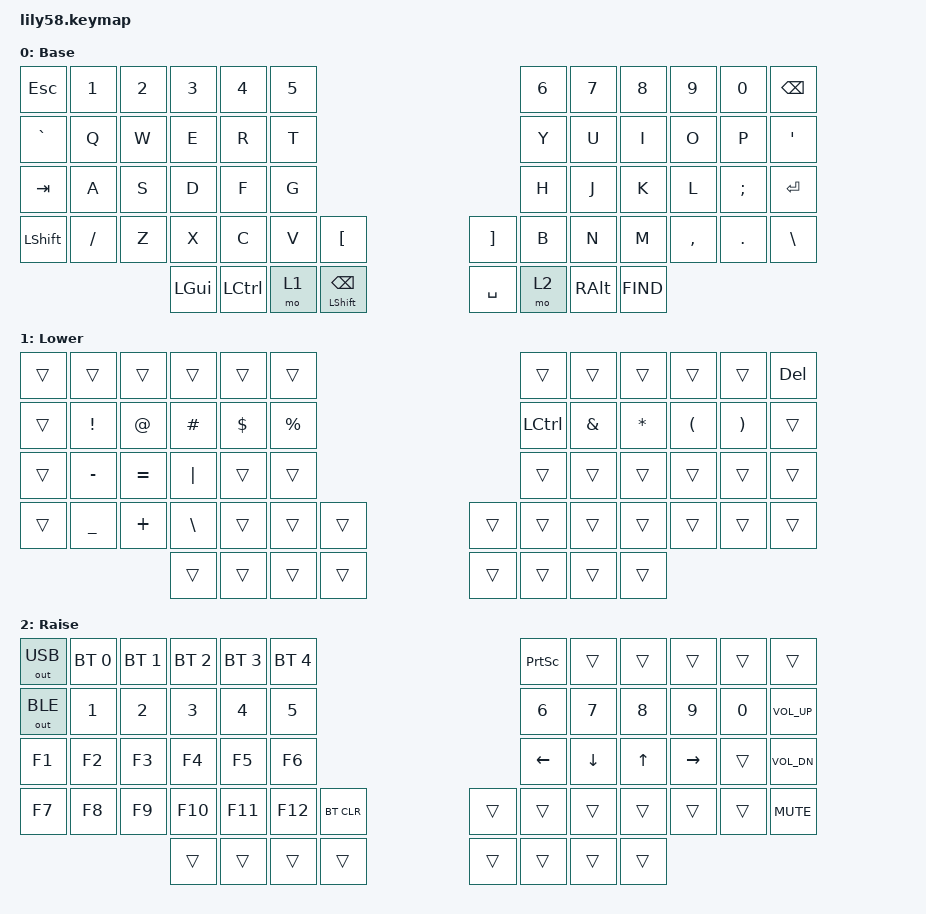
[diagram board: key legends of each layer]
/*
 * Copyright (c) 2020 The ZMK Contributors
 *
 * SPDX-License-Identifier: MIT
 */

#include <behaviors.dtsi>
#include <dt-bindings/zmk/bt.h>
#include <dt-bindings/zmk/keys.h>
#include <dt-bindings/zmk/outputs.h>

/ {
    keymap {
        compatible = "zmk,keymap";

        default_layer {
            // ------------------------------------------------------------------------------------------------------------
            // |  ESC  |  1  |  2  |  3   |  4   |  5   |                   |  6   |  7    |  8    |  9   |   0   |   `   |
            // |  TAB  |  Q  |  W  |  E   |  R   |  T   |                   |  Y   |  U    |  I    |  O   |   P   |   -   |
            // |  CTRL |  A  |  S  |  D   |  F   |  G   |                   |  H   |  J    |  K    |  L   |   ;   |   '   |
            // | SHIFT |  Z  |  X  |  C   |  V   |  B   |   "["  |  |  "]"  |  N   |  M    |  ,    |  .   |   /   | SHIFT |
            //                     | ALT  | GUI  | LOWER|  SPACE |  | ENTER | RAISE| BSPC  | GUI   |

            label = "Base";
            bindings = <
&kp ESC    &kp N1     &kp N2  &kp N3    &kp N4     &kp N5                                         &kp N6  &kp N7         &kp N8      &kp N9     &kp N0    &kp BACKSPACE
&kp GRAVE  &kp Q      &kp W   &kp E     &kp R      &kp T                                          &kp Y   &kp U          &kp I       &kp O      &kp P     &kp SQT
&kp TAB    &kp A      &kp S   &kp D     &kp F      &kp G                                          &kp H   &kp J          &kp K       &kp L      &kp SEMI  &kp ENTER
&kp LSHFT  &kp SLASH  &kp Z   &kp X     &kp C      &kp V   &kp LBKT                    &kp RBKT   &kp B   &kp N          &kp M       &kp COMMA  &kp DOT   &kp BACKSLASH
                              &kp LGUI  &kp LCTRL  &mo 1   &mt LEFT_SHIFT BACKSPACE    &kp SPACE  &mo 2   &kp RIGHT_ALT  &kp K_FIND
            >;
        };

        lower_layer {
            // ------------------------------------------------------------------------------------------------------------
            // | BTCLR | BT1 | BT2 |  BT3 |  BT4 |  BT5 |                   |      |       |       |      |       |       |
            // |  F1   |  F2 |  F3 |  F4  |  F5  |  F6  |                   |  F7  |  F8   |  F9   |  F10 |  F11  |  F12  |
            // |   `   |  !  |  @  |  #   |  $   |  %   |                   |  ^   |  &    |  *    |  (   |   )   |   ~   |
            // |       |     |     |      |      |      |        |  |       |      |  _    |  +    |  {   |   }   |  "|"  |
            //                     |      |      |      |        |  |       |      |       |       |

            label = "Lower";
            bindings = <
&trans  &trans           &trans       &trans         &trans      &trans                         &trans     &trans         &trans        &trans                &trans                 &kp DELETE
&trans  &kp EXCLAMATION  &kp AT_SIGN  &kp HASH       &kp DOLLAR  &kp PERCENT                    &kp LCTRL  &kp AMPERSAND  &kp ASTERISK  &kp LEFT_PARENTHESIS  &kp RIGHT_PARENTHESIS  &trans
&trans  &kp MINUS        &kp EQUAL    &kp PIPE       &trans      &trans                         &trans     &trans         &trans        &trans                &trans                 &trans
&trans  &kp UNDERSCORE   &kp PLUS     &kp BACKSLASH  &trans      &trans       &trans    &trans  &trans     &trans         &trans        &trans                &trans                 &trans
                                      &trans         &trans      &trans       &trans    &trans  &trans     &trans         &trans
            >;
        };

        raise_layer {
            // ------------------------------------------------------------------------------------------------------------
            // |       |     |     |      |      |      |                   |      |       |       |      |       |       |
            // |   `   |  1  |  2  |  3   |  4   |  5   |                   |  6   |   7   |   8   |  9   |   0   |       |
            // |   F1  |  F2 |  F3 |  F4  |  F5  |  F6  |                   |      |   <-  |   v   |  ^   |  ->   |       |
            // |   F7  |  F8 |  F9 |  F10 |  F11 |  F12 |        |  |       |  +   |   -   |   =   |  [   |   ]   |   \   |
            //                     |      |      |      |        |  |       |      |       |       |

            label = "Raise";
            bindings = <
&out OUT_USB  &bt BT_SEL 0  &bt BT_SEL 1  &bt BT_SEL 2  &bt BT_SEL 3  &bt BT_SEL 4                        &kp PRINTSCREEN  &trans    &trans        &trans     &trans  &trans
&out OUT_BLE  &kp N1        &kp N2        &kp N3        &kp N4        &kp N5                              &kp N6           &kp N7    &kp N8        &kp N9     &kp N0  &kp C_VOLUME_UP
&kp F1        &kp F2        &kp F3        &kp F4        &kp F5        &kp F6                              &kp LEFT         &kp DOWN  &kp UP_ARROW  &kp RIGHT  &trans  &kp C_VOL_DN
&kp F7        &kp F8        &kp F9        &kp F10       &kp F11       &kp F12       &bt BT_CLR    &trans  &trans           &trans    &trans        &trans     &trans  &kp C_MUTE
                                          &trans        &trans        &trans        &trans        &trans  &trans           &trans    &trans
            >;
        };
    };
};
